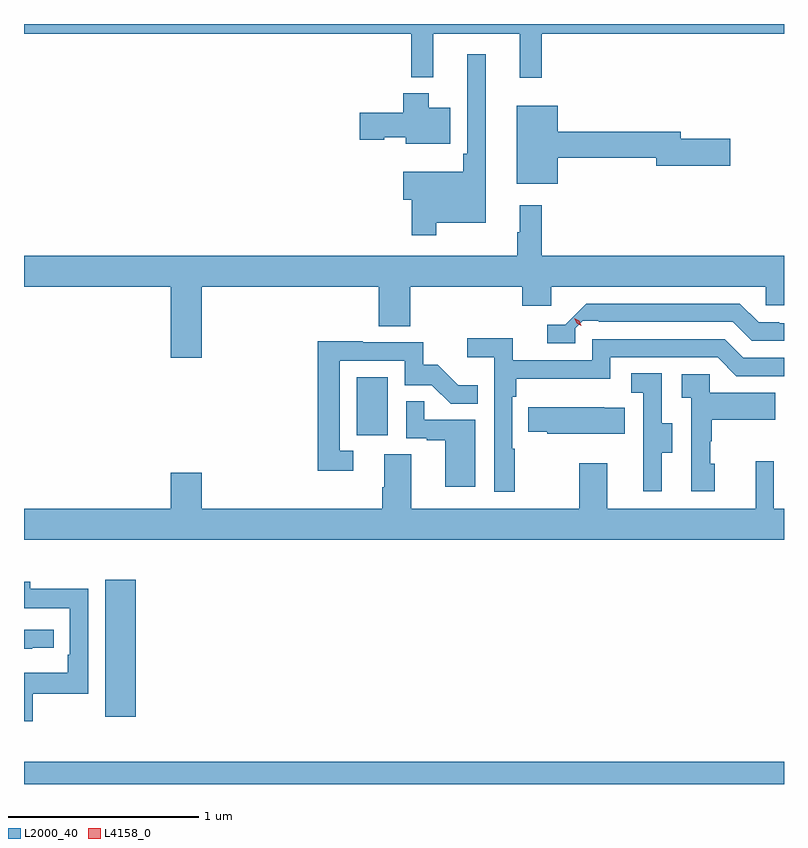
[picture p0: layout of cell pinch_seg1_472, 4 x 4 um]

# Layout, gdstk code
import gdstk
lib = gdstk.Library(unit=1e-6, precision=1e-09)
def R(c, l, rs):  # rectangles x0, y0, x1, y1
    for r in rs: c.add(gdstk.rectangle(r[:2], r[2:], *l))
def P(c, l, *ps):  # polygons
    for p in ps: c.add(gdstk.Polygon(p, *l))
L2000_40 = (2000, 40)
L4158_0 = (4158, 0)

pinch_seg1_472 = lib.new_cell('pinch_seg1_472')
R(pinch_seg1_472, L2000_40, [(1111.288,527.803,1115.288,527.92), (1111.715,528.156,1111.876,528.877), (1113.038,529.638,1113.202,529.945)])
P(pinch_seg1_472, L2000_40, [(1114.013,531.752),(1115.288,531.752),(1115.288,531.803),(1111.288,531.803),(1111.288,531.752),(1113.325,531.752),(1113.325,531.524),(1113.443,531.524),(1113.443,531.752),(1113.896,531.752),(1113.896,531.519),(1114.013,531.519)],
  [(1113.457,530.756),(1113.718,530.756),(1113.718,531.643),(1113.621,531.643),(1113.621,531.121),(1113.601,531.121),(1113.601,531.025),(1113.284,531.025),(1113.284,530.878),(1113.328,530.878),(1113.328,530.691),(1113.457,530.691)],
  [(1113.532,531.361),(1113.418,531.361),(1113.418,531.439),(1113.284,531.439),(1113.284,531.336),(1113.054,531.336),(1113.054,531.194),(1113.183,531.194),(1113.183,531.206),(1113.296,531.206),(1113.296,531.173),(1113.532,531.173)],
  [(1114.096,531.1),(1114.616,531.1),(1114.616,531.058),(1115.005,531.058),(1115.005,531.2),(1114.744,531.2),(1114.744,531.236),(1114.096,531.236),(1114.096,531.373),(1113.881,531.373),(1113.881,530.963),(1114.096,530.963)],
  [(1112.224,530.42),(1113.155,530.42),(1113.155,530.212),(1113.32,530.212),(1113.32,530.42),(1113.911,530.42),(1113.911,530.321),(1114.063,530.321),(1114.063,530.42),(1115.193,530.42),(1115.193,530.322),(1115.288,530.322),(1115.288,530.584),(1114.013,530.584),(1114.013,530.848),(1113.896,530.848),(1113.896,530.708),(1113.885,530.708),(1113.885,530.584),(1111.288,530.584),(1111.288,530.42),(1112.06,530.42),(1112.06,530.046),(1112.224,530.046)],
  [(1114.188,530.201),(1114.228,530.241),(1114.313,530.241),(1114.313,530.235),(1115.019,530.235),(1115.118,530.136),(1115.288,530.136),(1115.288,530.229),(1115.262,530.229),(1115.262,530.232),(1115.155,530.232),(1115.056,530.331),(1114.248,530.331),(1114.137,530.22),(1114.041,530.22),(1114.041,530.124),(1114.188,530.124)],
  [(1113.871,529.568),(1113.858,529.568),(1113.858,529.841),(1113.878,529.841),(1113.878,529.937),(1114.374,529.937),(1114.374,530.049),(1114.938,530.049),(1115.037,529.95),(1115.288,529.95),(1115.288,530.046),(1115.074,530.046),(1114.975,530.145),(1114.278,530.145),(1114.278,530.034),(1113.86,530.034),(1113.86,530.15),(1113.621,530.15),(1113.621,530.048),(1113.762,530.048),(1113.762,529.341),(1113.871,529.341)],
  [(1113.022,529.557),(1112.949,529.557),(1112.949,530.031),(1113.291,530.031),(1113.291,529.902),(1113.435,529.902),(1113.533,529.804),(1113.677,529.804),(1113.677,529.903),(1113.573,529.903),(1113.466,530.01),(1113.39,530.01),(1113.39,530.127),(1113.071,530.127),(1113.071,530.132),(1112.833,530.132),(1112.833,529.452),(1113.022,529.452)],
  [(1114.645,529.546),(1114.699,529.546),(1114.699,529.701),(1114.644,529.701),(1114.644,529.964),(1114.485,529.964),(1114.485,529.861),(1114.548,529.861),(1114.548,529.557),(1114.547,529.557),(1114.547,529.344),(1114.645,529.344)],
  [(1114.924,529.488),(1114.899,529.488),(1114.899,529.607),(1114.909,529.607),(1114.909,529.721),(1115.243,529.721),(1115.243,529.861),(1114.896,529.861),(1114.896,529.959),(1114.749,529.959),(1114.749,529.835),(1114.8,529.835),(1114.8,529.344),(1114.924,529.344)],
  [(1113.664,529.719),(1113.395,529.719),(1113.395,529.817),(1113.3,529.817),(1113.3,529.623),(1113.407,529.623),(1113.407,529.611),(1113.506,529.611),(1113.506,529.368),(1113.664,529.368)],
  [(1114.451,529.783),(1114.343,529.783),(1114.343,529.786),(1113.943,529.786),(1113.943,529.657),(1114.041,529.657),(1114.041,529.646),(1114.451,529.646)],
  [(1115.138,529.501),(1115.138,529.252),(1114.357,529.252),(1114.357,529.492),(1114.21,529.492),(1114.21,529.252),(1113.325,529.252),(1113.325,529.538),(1113.185,529.538),(1113.185,529.364),(1113.173,529.364),(1113.173,529.252),(1112.224,529.252),(1112.224,529.441),(1112.06,529.441),(1112.06,529.252),(1111.288,529.252),(1111.288,529.088),(1115.288,529.088),(1115.288,529.252),(1115.235,529.252),(1115.235,529.501)],
  [(1111.333,528.279),(1111.626,528.279),(1111.626,528.83),(1111.321,528.83),(1111.321,528.868),(1111.288,528.868),(1111.288,528.729),(1111.53,528.729),(1111.53,528.484),(1111.517,528.484),(1111.517,528.388),(1111.288,528.388),(1111.288,528.132),(1111.333,528.132)],
  [(1111.331,528.519),(1111.444,528.519),(1111.444,528.615),(1111.288,528.615),(1111.288,528.514),(1111.331,528.514)])
P(pinch_seg1_472, L4158_0, [(1114.222,530.216),(1114.196,530.228),(1114.184,530.255),(1114.184,530.255),(1114.184,530.255),(1114.21,530.242),(1114.222,530.216),(1114.222,530.216)])

lib.write_gds('pinch_seg1_472.gds')
